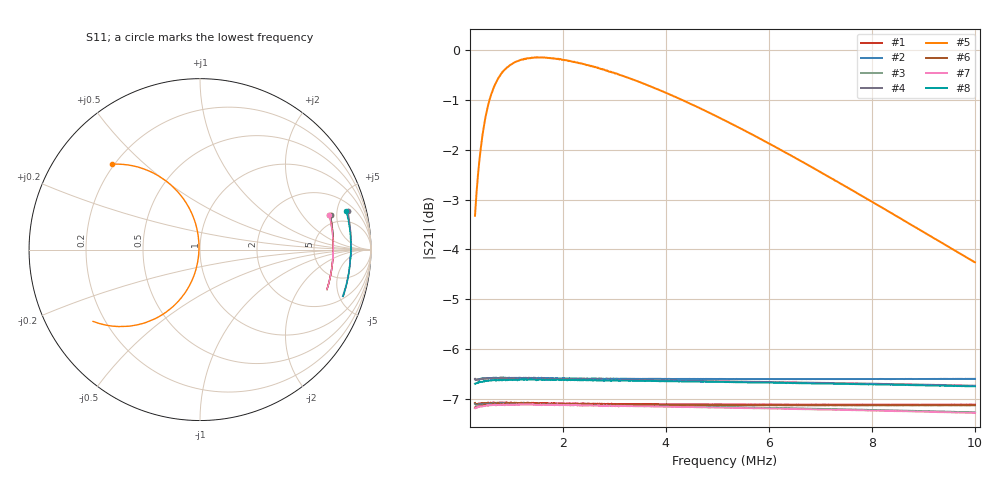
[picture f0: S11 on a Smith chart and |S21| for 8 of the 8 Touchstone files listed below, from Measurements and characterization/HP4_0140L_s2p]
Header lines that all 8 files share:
!Keysight Technologies,E5061B,MY49709559,B.05.06
!Data & Calibration Information:
!Freq	S11:SOLT2(ON)	S21:SOLT2(ON)	S12:SOLT2(ON)	S22:SOLT2(ON)
# Hz S RI R 50
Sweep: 300 kHz to 10 MHz
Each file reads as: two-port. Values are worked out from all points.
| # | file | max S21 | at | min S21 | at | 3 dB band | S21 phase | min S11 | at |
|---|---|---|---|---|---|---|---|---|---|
| 1 | S2P_P1PRIMARY_P2SECN_SECP50OHM.S2P | -7.08 dB | 999.1 kHz | -7.1 dB | 8.553 MHz | 300 kHz-10 MHz | 173 deg at 5.155 MHz | -2.2 dB | 2.863 MHz |
| 2 | S2P_P1PRIMARY_P2SECN_SECPOPEN.S2P | -6.57 dB | 785.5 kHz | -6.6 dB | 329.1 kHz | 300 kHz-10 MHz | 174 deg at 5.155 MHz | -1.1 dB | 9.99 MHz |
| 3 | S2P_P1PRIMARY_P2SECP_SECN50OHM.S2P | -7.09 dB | 834 kHz | -7.3 dB | 10 MHz | 300 kHz-10 MHz | -7 deg at 5.155 MHz | -2.2 dB | 3.058 MHz |
| 4 | S2P_P1PRIMARY_P2SECP_SECNOPEN.S2P | -6.58 dB | 834 kHz | -6.7 dB | 10 MHz | 300 kHz-10 MHz | -7 deg at 5.155 MHz | -1.1 dB | 9.33 MHz |
| 5 | S2P_P1SECN_P2SECP_PRIOPEN.S2P | -0.14 dB | 1.514 MHz | -4.3 dB | 10 MHz | 319.4 kHz-8.155 MHz | 147 deg at 5.155 MHz | -44.4 dB | 1.63 MHz |
| 6 | S2P_RECAL_P1PRIMARY_P2SECN_SECP50OHM.S2P | -7.10 dB | 1.329 MHz | -7.2 dB | 300 kHz | 300 kHz-10 MHz | 173 deg at 5.155 MHz | -2.2 dB | 9.854 MHz |
| 7 | S2P_RECAL_P1PRIMARY_P2SECP_SECN50OHM.S2P | -7.11 dB | 1.417 MHz | -7.3 dB | 9.99 MHz | 300 kHz-10 MHz | -7 deg at 5.155 MHz | -2.2 dB | 3.087 MHz |
| 8 | S2P_RECAL_P1PRIMARY_P2SECP_SECNOPEN.S2P | -6.61 dB | 1.203 MHz | -6.8 dB | 9.961 MHz | 300 kHz-10 MHz | -7 deg at 5.155 MHz | -1.1 dB | 9.116 MHz |
